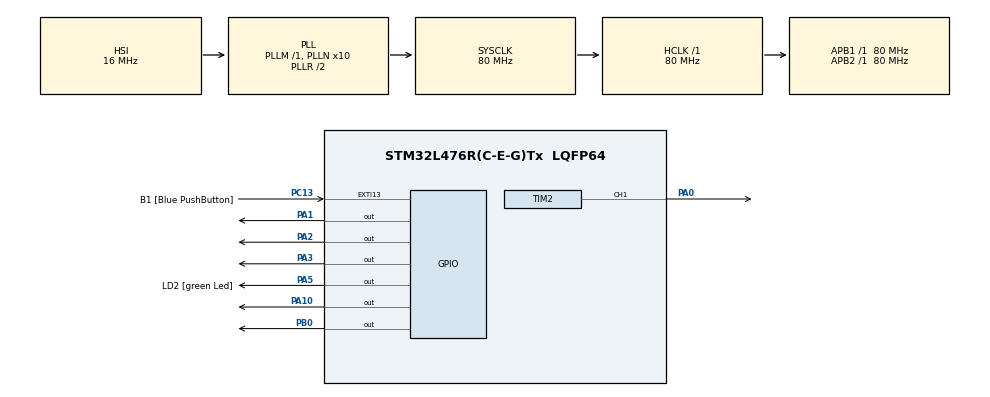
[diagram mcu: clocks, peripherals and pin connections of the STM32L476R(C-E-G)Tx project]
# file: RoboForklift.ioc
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Mcu.Family=STM32L4
Mcu.Name=STM32L476R(C-E-G)Tx
Mcu.Package=LQFP64
NVIC.PriorityGroup=NVIC_PRIORITYGROUP_4
PA0.Signal=S_TIM2_CH1
PA1.Signal=GPIO_Output
PA10.Signal=GPIO_Output
PA13\ (JTMS-SWDIO).GPIO_Label=TMS
PA13\ (JTMS-SWDIO).Mode=Serial_Wire
PA13\ (JTMS-SWDIO).Signal=SYS_JTMS-SWDIO
PA14\ (JTCK-SWCLK).GPIO_Label=TCK
PA14\ (JTCK-SWCLK).Mode=Serial_Wire
PA14\ (JTCK-SWCLK).Signal=SYS_JTCK-SWCLK
PA2.Signal=GPIO_Output
PA3.Signal=GPIO_Output
PA5.GPIO_Label=LD2 [green Led]
PA5.GPIO_ModeDefaultOutputPP=GPIO_MODE_OUTPUT_PP
PA5.GPIO_PuPd=GPIO_NOPULL
PA5.GPIO_Speed=GPIO_SPEED_FREQ_LOW
PA5.Signal=GPIO_Output
PB0.Signal=GPIO_Output
PB3\ (JTDO-TRACESWO).GPIO_Label=SWO
PB3\ (JTDO-TRACESWO).Signal=SYS_JTDO-SWO
PC13.GPIO_Label=B1 [Blue PushButton]
PC13.GPIO_ModeDefaultEXTI=GPIO_MODE_IT_FALLING
PC13.GPIO_PuPd=GPIO_NOPULL
PC13.Signal=GPXTI13
PC14-OSC32_IN\ (PC14).Mode=LSE-External-Oscillator
PC14-OSC32_IN\ (PC14).Signal=RCC_OSC32_IN
PC15-OSC32_OUT\ (PC15).Mode=LSE-External-Oscillator
PC15-OSC32_OUT\ (PC15).Signal=RCC_OSC32_OUT
PH0-OSC_IN\ (PH0).Signal=RCC_OSC_IN
PH1-OSC_OUT\ (PH1).Signal=RCC_OSC_OUT
ProjectManager.HeapSize=0x200
ProjectManager.StackSize=0x400
ProjectManager.TargetToolchain=STM32CubeIDE
RCC.ADCFreq_Value=64000000
RCC.AHBFreq_Value=80000000
RCC.APB1Freq_Value=80000000
RCC.APB1TimFreq_Value=80000000
RCC.APB2Freq_Value=80000000
RCC.APB2TimFreq_Value=80000000
RCC.CortexFreq_Value=80000000
RCC.HCLKFreq_Value=80000000
RCC.HSE_VALUE=8000000
RCC.HSI_VALUE=16000000
RCC.MSI_VALUE=4000000
RCC.PLLN=10
RCC.PLLSourceVirtual=RCC_PLLSOURCE_HSI
RCC.PREFETCH_ENABLE=1
RCC.SYSCLKFreq_VALUE=80000000
RCC.SYSCLKSource=RCC_SYSCLKSOURCE_PLLCLK
RCC.USBFreq_Value=64000000
RCC.VCOOutputFreq_Value=160000000
SH.S_TIM2_CH1.0=TIM2_CH1,PWM Generation1 CH1
TIM2.Channel-PWM\ Generation1\ CH1=TIM_CHANNEL_1
TIM2.Period=19999
TIM2.Prescaler=79
TIM2.Pulse-PWM\ Generation1\ CH1=1500
VP_TIM2_VS_ClockSourceINT.Mode=Internal
board=NUCLEO-L476RG

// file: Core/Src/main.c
/* USER CODE BEGIN Header */
/**
  ******************************************************************************
  * @file           : main.c
  * @brief          : Main program body
  ******************************************************************************
  * @attention
  *
  * Copyright (c) 2024 STMicroelectronics.
  * All rights reserved.
  *
  * This software is licensed under terms that can be found in the LICENSE file
  * in the root directory of this software component.
  * If no LICENSE file comes with this software, it is provided AS-IS.
  *
  ******************************************************************************
  */
/* USER CODE END Header */
#include "main.h"

TIM_HandleTypeDef htim2;

void SystemClock_Config(void);
static void MX_GPIO_Init(void);
static void MX_TIM2_Init(void);
/* USER CODE BEGIN PFP */

void Motor_Init(void);
void Motor_MoveForward(void);
void Motor_MoveBackward(void);
void Motor_Stop(void);
void HC_SR04_Init(void);
uint32_t HC_SR04_ReadDistance(void);

/* USER CODE END PFP */

/* USER CODE BEGIN 0 */

void Set_Servo_Angle(uint16_t angle) {
    // Map the angle (0 to 180) to pulse width (500 to 2500)
    uint16_t pulseWidth = 500 + (angle * 2000 / 180);
    __HAL_TIM_SET_COMPARE(&htim2, TIM_CHANNEL_1, pulseWidth);
}

//Initialize motors
void Motor_Init(void)
{
    HAL_GPIO_WritePin(GPIOB, GPIO_PIN_0, GPIO_PIN_SET); // Enable Motor 1
    HAL_GPIO_WritePin(GPIOA, GPIO_PIN_10, GPIO_PIN_SET); // Enable Motor 2
}

//Control motor movement

void Motor_MoveForward(void)
{
    HAL_GPIO_WritePin(GPIOA, GPIO_PIN_1, GPIO_PIN_SET);   // IN1
    HAL_GPIO_WritePin(GPIOA, GPIO_PIN_2, GPIO_PIN_RESET); // IN2
    HAL_GPIO_WritePin(GPIOA, GPIO_PIN_3, GPIO_PIN_SET);   // IN3
    HAL_GPIO_WritePin(GPIOA, GPIO_PIN_4, GPIO_PIN_RESET); // IN4
}

void Motor_MoveBackward(void)
{
    HAL_GPIO_WritePin(GPIOA, GPIO_PIN_1, GPIO_PIN_RESET); // IN1
    HAL_GPIO_WritePin(GPIOA, GPIO_PIN_2, GPIO_PIN_SET);   // IN2
    HAL_GPIO_WritePin(GPIOA, GPIO_PIN_3, GPIO_PIN_RESET); // IN3
    HAL_GPIO_WritePin(GPIOA, GPIO_PIN_4, GPIO_PIN_SET);   // IN4
}

void Motor_Stop(void)
{
    HAL_GPIO_WritePin(GPIOA, GPIO_PIN_1, GPIO_PIN_RESET); // IN1
    HAL_GPIO_WritePin(GPIOA, GPIO_PIN_2, GPIO_PIN_RESET); // IN2
    HAL_GPIO_WritePin(GPIOA, GPIO_PIN_3, GPIO_PIN_RESET); // IN3
    HAL_GPIO_WritePin(GPIOA, GPIO_PIN_4, GPIO_PIN_RESET); // IN4
}

//Initialize HC_SR04 Sensor

void HC_SR04_Init(void)
{
    // Configure GPIO pins for HC-SR04 trigger and echo
    // Example:
    // HAL_GPIO_WritePin(GPIOX, GPIO_PIN_Y, GPIO_PIN_RESET); // Set as output for trigger
    // HAL_GPIO_Init(GPIOX, &GPIO_InitStruct); // Initialize GPIO for trigger
}

uint32_t HC_SR04_ReadDistance(void)
{
    // Trigger the HC-SR04 sensor
    // Measure pulse width from the echo pin
    // Calculate distance based on pulse width
    // Example:
    // HAL_GPIO_WritePin(GPIOX, GPIO_PIN_Y, GPIO_PIN_SET);
    // Delay
    // HAL_GPIO_WritePin(GPIOX, GPIO_PIN_Y, GPIO_PIN_RESET);
    // Measure pulse width
    // Calculate distance
    //return distance;
}

/* USER CODE END 0 */

int main(void)
{

  /* MCU Configuration--------------------------------------------------------*/

  /* Reset of all peripherals, Initializes the Flash interface and the Systick. */
  HAL_Init();

  /* Configure the system clock */
  SystemClock_Config();

  /* Initialize all configured peripherals */
  MX_GPIO_Init();
  MX_TIM2_Init();
  /* USER CODE BEGIN 2 */

  HAL_TIM_PWM_Start(&htim2, TIM_CHANNEL_1);

  Motor_Init();
  HC_SR04_Init();

  /* USER CODE END 2 */

  /* Infinite loop */
  /* USER CODE BEGIN WHILE */
  while (1)
  {

//	  	  	__HAL_TIM_SET_COMPARE(&htim2,TIM_CHANNEL_2, 250);
//	        HAL_Delay(1000);
//	        __HAL_TIM_SET_COMPARE(&htim2,TIM_CHANNEL_2, 750);
//	        HAL_Delay(1000);
//	        __HAL_TIM_SET_COMPARE(&htim2,TIM_CHANNEL_2, 1250);
//	        HAL_Delay(1000);

//	  for(int i = 0; i<=180; i++){
//		  Set_Servo_Angle(i);
//		  HAL_Delay(50);
//	  }

//	        Set_Servo_Angle(0);   // Set servo to 0°
//	        HAL_Delay(1000);      // Wait for 1 second
//	        Set_Servo_Angle(90);  // Set servo to 90°
//	        HAL_Delay(1000);      // Wait for 1 second
//	        Set_Servo_Angle(180); // Set servo to 180°
//	        HAL_Delay(1000);      // Wait for 1 second

	  uint32_t distance = HC_SR04_ReadDistance();

	          if (distance > 100) // Define SAFE_DISTANCE based on your requirements
	          {
	              Motor_MoveForward();
	          }
	          else
	          {
	              Motor_Stop();
	              // Implement logic to avoid collision, e.g., turn or reverse
	          }

	          HAL_Delay(1000); // Delay between movements

    /* USER CODE END WHILE */

  }
}

void SystemClock_Config(void)
{
  RCC_OscInitTypeDef RCC_OscInitStruct = {0};
  RCC_ClkInitTypeDef RCC_ClkInitStruct = {0};

  /** Configure the main internal regulator output voltage
  */
  if (HAL_PWREx_ControlVoltageScaling(PWR_REGULATOR_VOLTAGE_SCALE1) != HAL_OK)
  {
    Error_Handler();
  }

  /** Initializes the RCC Oscillators according to the specified parameters
  * in the RCC_OscInitTypeDef structure.
  */
  RCC_OscInitStruct.OscillatorType = RCC_OSCILLATORTYPE_HSI;
  RCC_OscInitStruct.HSIState = RCC_HSI_ON;
  RCC_OscInitStruct.HSICalibrationValue = RCC_HSICALIBRATION_DEFAULT;
  RCC_OscInitStruct.PLL.PLLState = RCC_PLL_ON;
  RCC_OscInitStruct.PLL.PLLSource = RCC_PLLSOURCE_HSI;
  RCC_OscInitStruct.PLL.PLLM = 1;
  RCC_OscInitStruct.PLL.PLLN = 10;
  RCC_OscInitStruct.PLL.PLLP = RCC_PLLP_DIV7;
  RCC_OscInitStruct.PLL.PLLQ = RCC_PLLQ_DIV2;
  RCC_OscInitStruct.PLL.PLLR = RCC_PLLR_DIV2;
  if (HAL_RCC_OscConfig(&RCC_OscInitStruct) != HAL_OK)
  {
    Error_Handler();
  }

  /** Initializes the CPU, AHB and APB buses clocks
  */
  RCC_ClkInitStruct.ClockType = RCC_CLOCKTYPE_HCLK|RCC_CLOCKTYPE_SYSCLK
                              |RCC_CLOCKTYPE_PCLK1|RCC_CLOCKTYPE_PCLK2;
  RCC_ClkInitStruct.SYSCLKSource = RCC_SYSCLKSOURCE_PLLCLK;
  RCC_ClkInitStruct.AHBCLKDivider = RCC_SYSCLK_DIV1;
  RCC_ClkInitStruct.APB1CLKDivider = RCC_HCLK_DIV1;
  RCC_ClkInitStruct.APB2CLKDivider = RCC_HCLK_DIV1;

  if (HAL_RCC_ClockConfig(&RCC_ClkInitStruct, FLASH_LATENCY_4) != HAL_OK)
  {
    Error_Handler();
  }
}

static void MX_TIM2_Init(void)
{

  TIM_ClockConfigTypeDef sClockSourceConfig = {0};
  TIM_MasterConfigTypeDef sMasterConfig = {0};
  TIM_OC_InitTypeDef sConfigOC = {0};

  htim2.Instance = TIM2;
  htim2.Init.Prescaler = 79;
  htim2.Init.CounterMode = TIM_COUNTERMODE_UP;
  htim2.Init.Period = 19999;
  htim2.Init.ClockDivision = TIM_CLOCKDIVISION_DIV1;
  htim2.Init.AutoReloadPreload = TIM_AUTORELOAD_PRELOAD_DISABLE;
  if (HAL_TIM_Base_Init(&htim2) != HAL_OK)
  {
    Error_Handler();
  }
  sClockSourceConfig.ClockSource = TIM_CLOCKSOURCE_INTERNAL;
  if (HAL_TIM_ConfigClockSource(&htim2, &sClockSourceConfig) != HAL_OK)
  {
    Error_Handler();
  }
  if (HAL_TIM_PWM_Init(&htim2) != HAL_OK)
  {
    Error_Handler();
  }
  sMasterConfig.MasterOutputTrigger = TIM_TRGO_RESET;
  sMasterConfig.MasterSlaveMode = TIM_MASTERSLAVEMODE_DISABLE;
  if (HAL_TIMEx_MasterConfigSynchronization(&htim2, &sMasterConfig) != HAL_OK)
  {
    Error_Handler();
  }
  sConfigOC.OCMode = TIM_OCMODE_PWM1;
  sConfigOC.Pulse = 1500;
  sConfigOC.OCPolarity = TIM_OCPOLARITY_HIGH;
  sConfigOC.OCFastMode = TIM_OCFAST_DISABLE;
  if (HAL_TIM_PWM_ConfigChannel(&htim2, &sConfigOC, TIM_CHANNEL_1) != HAL_OK)
  {
    Error_Handler();
  }
  HAL_TIM_MspPostInit(&htim2);

}

static void MX_GPIO_Init(void)
{
  GPIO_InitTypeDef GPIO_InitStruct = {0};

  /* GPIO Ports Clock Enable */
  __HAL_RCC_GPIOC_CLK_ENABLE();
  __HAL_RCC_GPIOH_CLK_ENABLE();
  __HAL_RCC_GPIOA_CLK_ENABLE();
  __HAL_RCC_GPIOB_CLK_ENABLE();

  /*Configure GPIO pin Output Level */
  HAL_GPIO_WritePin(GPIOA, GPIO_PIN_1|GPIO_PIN_2|GPIO_PIN_3|LD2_Pin
                          |GPIO_PIN_10, GPIO_PIN_RESET);

  /*Configure GPIO pin Output Level */
  HAL_GPIO_WritePin(GPIOB, GPIO_PIN_0, GPIO_PIN_RESET);

  /*Configure GPIO pin : B1_Pin */
  GPIO_InitStruct.Pin = B1_Pin;
  GPIO_InitStruct.Mode = GPIO_MODE_IT_FALLING;
  GPIO_InitStruct.Pull = GPIO_NOPULL;
  HAL_GPIO_Init(B1_GPIO_Port, &GPIO_InitStruct);

  /*Configure GPIO pins : PA1 PA2 PA3 LD2_Pin
                           PA10 */
  GPIO_InitStruct.Pin = GPIO_PIN_1|GPIO_PIN_2|GPIO_PIN_3|LD2_Pin
                          |GPIO_PIN_10;
  GPIO_InitStruct.Mode = GPIO_MODE_OUTPUT_PP;
  GPIO_InitStruct.Pull = GPIO_NOPULL;
  GPIO_InitStruct.Speed = GPIO_SPEED_FREQ_LOW;
  HAL_GPIO_Init(GPIOA, &GPIO_InitStruct);

  /*Configure GPIO pin : PB0 */
  GPIO_InitStruct.Pin = GPIO_PIN_0;
  GPIO_InitStruct.Mode = GPIO_MODE_OUTPUT_PP;
  GPIO_InitStruct.Pull = GPIO_NOPULL;
  GPIO_InitStruct.Speed = GPIO_SPEED_FREQ_LOW;
  HAL_GPIO_Init(GPIOB, &GPIO_InitStruct);

}

void Error_Handler(void)
{
  __disable_irq();
  while (1)
  {
  }
}
